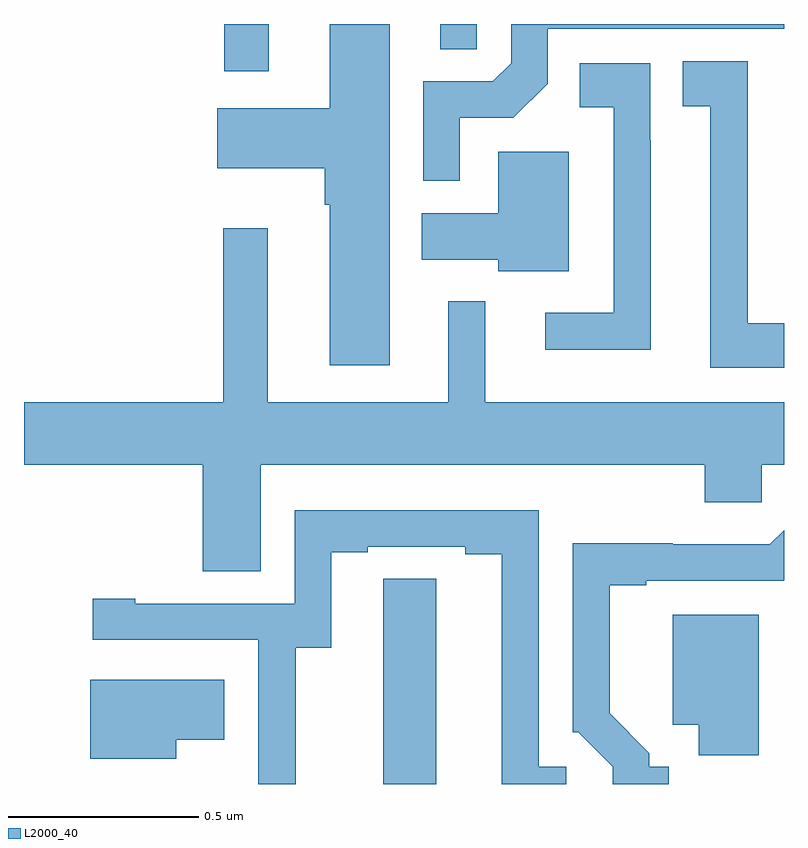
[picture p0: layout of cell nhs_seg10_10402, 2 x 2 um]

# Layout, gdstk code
import gdstk
lib = gdstk.Library(unit=1e-6, precision=1e-09)
def R(c, l, rs):  # rectangles x0, y0, x1, y1
    for r in rs: c.add(gdstk.rectangle(r[:2], r[2:], *l))
def P(c, l, *ps):  # polygons
    for p in ps: c.add(gdstk.Polygon(p, *l))
L2000_40 = (2000, 40)

nhs_seg10_10402 = lib.new_cell('nhs_seg10_10402')
R(nhs_seg10_10402, L2000_40, [(242.527,1277.376,242.644,1277.5), (243.095,1277.434,243.192,1277.5)])
P(nhs_seg10_10402, L2000_40, [(243.147,1277.253),(243.288,1277.253),(243.378,1277.343),(243.378,1277.487),(244,1277.487),(244,1277.5),(243.282,1277.5),(243.282,1277.397),(243.234,1277.349),(243.051,1277.349),(243.051,1277.087),(243.147,1277.087)],
  [(242.962,1277.5),(242.804,1277.5),(242.804,1277.278),(242.508,1277.278),(242.508,1277.12),(242.792,1277.12),(242.792,1277.024),(242.804,1277.024),(242.804,1276.602),(242.962,1276.602)],
  [(244,1276.712),(243.904,1276.712),(243.904,1276.993),(243.905,1276.993),(243.905,1277.402),(243.733,1277.402),(243.733,1277.284),(243.806,1277.284),(243.806,1276.596),(244,1276.596)],
  [(243.649,1277.194),(243.648,1277.194),(243.648,1277.397),(243.463,1277.397),(243.463,1277.281),(243.552,1277.281),(243.552,1276.74),(243.372,1276.74),(243.372,1276.643),(243.649,1276.643)],
  [(243.433,1277.164),(243.248,1277.164),(243.248,1277.002),(243.047,1277.002),(243.047,1276.88),(243.248,1276.88),(243.248,1276.85),(243.433,1276.85)],
  [(242.623,1276.34),(243.791,1276.34),(243.791,1276.242),(243.942,1276.242),(243.942,1276.34),(244,1276.34),(244,1276.504),(243.214,1276.504),(243.214,1276.771),(243.116,1276.771),(243.116,1276.504),(242.641,1276.504),(242.641,1276.963),(242.524,1276.963),(242.524,1276.504),(242,1276.504),(242,1276.34),(242.471,1276.34),(242.471,1276.06),(242.623,1276.06)],
  [(242.715,1275.859),(242.809,1275.859),(242.809,1276.11),(242.905,1276.11),(242.905,1276.125),(243.161,1276.125),(243.161,1276.105),(243.257,1276.105),(243.257,1275.5),(243.427,1275.5),(243.427,1275.546),(243.354,1275.546),(243.354,1276.221),(242.712,1276.221),(242.712,1275.975),(242.293,1275.975),(242.293,1275.988),(242.181,1275.988),(242.181,1275.879),(242.616,1275.879),(242.616,1275.5),(242.715,1275.5)],
  [(243.697,1275.546),(243.646,1275.546),(243.646,1275.581),(243.541,1275.686),(243.541,1276.023),(243.637,1276.023),(243.637,1276.035),(243.999,1276.035),(244,1276.036),(244,1276.168),(243.963,1276.131),(243.707,1276.131),(243.707,1276.133),(243.444,1276.133),(243.444,1275.636),(243.459,1275.636),(243.549,1275.546),(243.549,1275.5),(243.697,1275.5)],
  [(243.085,1276.04),(242.946,1276.04),(242.946,1275.932),(242.945,1275.932),(242.945,1275.5),(243.085,1275.5)],
  [(243.934,1275.946),(243.707,1275.946),(243.707,1275.656),(243.776,1275.656),(243.776,1275.576),(243.934,1275.576)],
  [(242.401,1275.617),(242.527,1275.617),(242.527,1275.775),(242.174,1275.775),(242.174,1275.566),(242.401,1275.566)])

lib.write_gds('nhs_seg10_10402.gds')
